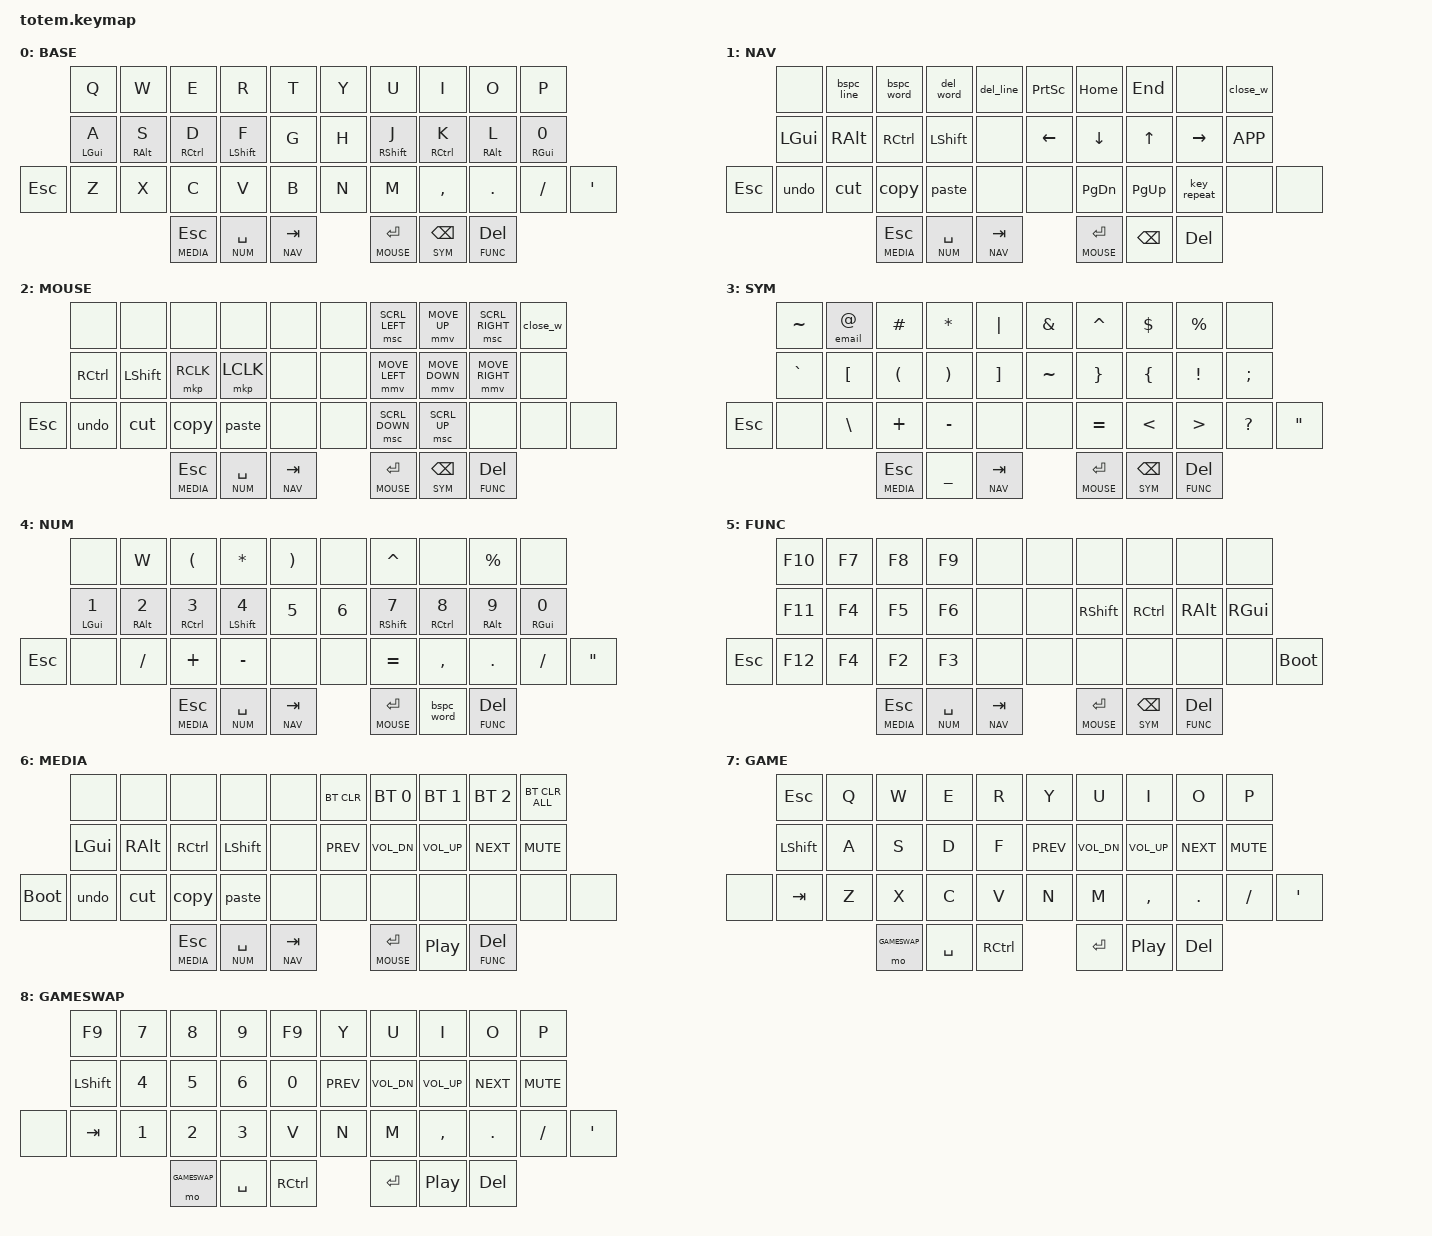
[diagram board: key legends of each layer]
//
//                                                        ▀▀▀▀▀     ▀▀▀▀▀          ▀▀█▀▀
//                                                        ▄▀▀▀▄  ▄  ▄▀▀▀▄  ▄  ▄▀▀▀▄  █  ▄▀▀▀▄
//                                                        █   █  █  █   █  █  █   █  █  █   █
//                                                         ▀▀▀   █   ▀▀▀   █   ▀▀▀   ▀   ▀▀▀
//                                                               █      ▄▄▄█▄▄▄    █   █
//                                                               ▀      █  █  █     █▄█
//                                                             ▀▀▀▀▀    █  █  █      ▀
//                                                                      ▀  ▀  ▀
//
// ▄▄▄▄▄▄▄▄▄▄▄▄▄▄▄▄▄▄▄▄▄▄▄▄▄▄▄▄▄▄▄▄▄▄▄▄▄▄▄▄▄▄▄▄▄▄▄▄▄▄▄▄▄▄▄▄▄▄▄▄▄▄▄▄▄▄▄▄▄▄▄▄▄▄▄▄▄▄▄▄▄▄▄▄▄▄▄▄▄▄▄▄▄▄▄▄▄▄▄▄▄▄▄▄▄▄▄▄▄▄▄▄▄▄▄▄▄▄▄▄▄▄▄▄▄▄▄▄▄▄▄▄▄▄▄▄▄▄▄▄▄▄▄▄▄▄▄▄▄


#include <behaviors.dtsi>
#include <dt-bindings/zmk/keys.h>
#include <dt-bindings/zmk/bt.h>
#include <dt-bindings/zmk/outputs.h>
#include <dt-bindings/zmk/mouse.h>
#include <behaviors/mouse_keys.dtsi>

#define BASE 0
#define NAV 1
#define MOUSE 2
#define SYM 3
#define NUM 4
#define FUNC 5
#define MEDIA 6
#define GAME 7
#define GAMESWAP 8

// Mouse settings
#define ZMK_MOUSE_DEFAULT_MOVE_VAL 2000
&mmv {
    time-to-max-speed-ms = <500>;
    delay-ms = <0>;
    acceleration-exponent = <1>;
};
# define ZMK_MOUSE_DEFAULT_SCRL_VAL 20
&msc {
    time-to-max-speed-ms = <100>;
    delay-ms = <0>;
    acceleration-exponent = <1>;
};

&lt {
    flavor = "hold-preferred";
    tapping-term-ms = <2000>;
    retro-tap;
    quick-tap-ms = <0>;
};

/ {
     combos {
            compatible = "zmk,combos";
            combo_toggle_game {
                timeout-ms = <200>;
                layers = <BASE>;
                key-positions = <20 31>;
                bindings = <&to GAME>;
            };
            combo_toggle_base {
                timeout-ms = <200>;
                layers = <GAME>;
                key-positions = <20 31>;
                bindings = <&to BASE>;
            };
            combo_toggle_caps_word_right {
                timeout-ms = <100>;
                layers = <BASE>;
                key-positions = <16 17 18>;
                bindings = <&caps_word>;
            };
            combo_toggle_caps_word_left {
                timeout-ms = <100>;
                layers = <BASE>;
                key-positions = <11 12 13>;
                bindings = <&caps_word>;
            };
            combo_quote {
                timeout-ms = <100>;
                layers = <BASE NUM SYM>;
                key-positions = <6 16>;
                bindings = <&kp APOS>;
            };
            combo_dquote {
                timeout-ms = <100>;
                layers = <BASE NUM SYM>;
                key-positions = <3 13>;
                bindings = <&kp DQT>;
            };
    };

    macros {
        email: email {
            compatible = "zmk,behavior-macro";
            #binding-cells = <0>;
            wait-ms = <30>;
            tap-ms = <30>;
            bindings
                = <&kp T &kp U &kp O &kp M &kp O>
                , <&kp DOT>
                , <&kp K &kp A &kp R &kp E &kp O &kp J &kp A>
                , <&kp AT>
                , <&kp G &kp M &kp A &kp I &kp L>
                , <&kp DOT>
                , <&kp C &kp O &kp M>
                ;
        };
        undo: undo {
            compatible = "zmk,behavior-macro";
            #binding-cells = <0>;
            bindings
                = <&macro_press &kp RCTRL>
                , <&macro_tap &kp Z>
                , <&macro_release &kp RCTRL>
                ;
        };
        cut: cut {
            compatible = "zmk,behavior-macro";
            #binding-cells = <0>;
            bindings
                = <&macro_press &kp RCTRL>
                , <&macro_tap &kp X>
                , <&macro_release &kp RCTRL>
                ;
        };
        copy: copy {
            compatible = "zmk,behavior-macro";
            #binding-cells = <0>;
            bindings
                = <&macro_press &kp RCTRL>
                , <&macro_tap &kp C>
                , <&macro_release &kp RCTRL>
                ;
        };
        paste: paste {
            compatible = "zmk,behavior-macro";
            #binding-cells = <0>;
            bindings
                = <&macro_press &kp RCTRL>
                , <&macro_tap &kp V>
                , <&macro_release &kp RCTRL>
                ;
        };
        bspc_line: bspc_line {
            compatible = "zmk,behavior-macro";
            #binding-cells = <0>;
            bindings
                = <&macro_press &kp LSHFT>
                , <&macro_tap &kp HOME>
                , <&macro_release &kp LSHFT>
                , <&macro_tap &kp DEL>
                ;
        };
        del_line: del_line {
            compatible = "zmk,behavior-macro";
            #binding-cells = <0>;
            bindings
                = <&macro_press &kp LSHFT>
                , <&macro_tap &kp END>
                , <&macro_release &kp LSHFT>
                , <&macro_tap &kp DEL>
                ;
        };
        bspc_word: bspc_word {
            compatible = "zmk,behavior-macro";
            #binding-cells = <0>;
            bindings
                = <&macro_press &kp RCTRL>
                , <&macro_tap &kp BSPC>
                , <&macro_release &kp RCTRL>
                ;
        };
        del_word: del_word {
            compatible = "zmk,behavior-macro";
            #binding-cells = <0>;
            bindings
                = <&macro_press &kp RCTRL>
                , <&macro_tap &kp DEL>
                , <&macro_release &kp RCTRL>
                ;
        };
        close_w: close_w {
            compatible = "zmk,behavior-macro";
            #binding-cells = <0>;
            bindings
                = <&macro_press &kp RALT>
                , <&macro_tap &kp F4>
                , <&macro_release &kp RALT>
                ;
        };
    };

    behaviors {

        hmr: homerow_mods_right {
            compatible = "zmk,behavior-hold-tap";
            #binding-cells = <2>;
            flavor = "balanced";
            tapping-term-ms = <190>;
            quick-tap-ms = <190>;
            require-prior-idle-ms = <175>;
            hold-trigger-key-positions = <                     \
                    0   1   2   3   4                          \
                    10  11  12  13  14      16  17  18  19     \
                20  21  22  23  24  25                         \
                            32  33  34                         \
            >;
            bindings =
                <&kp>,
                <&kp>;
        };
        hml: homerow_mods_left {
            compatible = "zmk,behavior-hold-tap";
            #binding-cells = <2>;
            flavor = "balanced";
            tapping-term-ms = <190>;
            quick-tap-ms = <0>;
            require-prior-idle-ms = <175>;
            hold-trigger-key-positions = <                     \
                                        5   6   7   8   9      \
                    10  11  12  13      15  16  17  18  19     \
                                        26  27  28  29  30  31 \
                                        35  36  37             \
            >;
            bindings =
                <&kp>,
                <&kp>;
        };
        hmli: homerow_left_index {
            compatible = "zmk,behavior-hold-tap";
            #binding-cells = <2>;
            flavor = "balanced";
            retro-tap;
            tapping-term-ms = <100>;
            quick-tap-ms = <0>;
            hold-trigger-key-positions = <                     \
                                        5   6   7   8   9      \
                    10  11  12  13      15  16  17  18  19     \
                                        26  27  28  29  30  31 \
                                        35  36  37             \
            >;
            bindings =
                <&kp>,
                <&kp>;
        };
        hmri: homerow_right_index {
            compatible = "zmk,behavior-hold-tap";
            #binding-cells = <2>;
            flavor = "balanced";
            retro-tap;
            tapping-term-ms = <100>;
            quick-tap-ms = <150>;
            hold-trigger-key-positions = <                     \
                    0   1   2   3   4                          \
                    10  11  12  13  14      16  17  18  19     \
                20  21  22  23  24  25                         \
                            32  33  34                         \
            >;
            bindings =
                <&kp>,
                <&kp>;
        };
        hmrp: homerow_mods_right_pinky {
            compatible = "zmk,behavior-hold-tap";
            #binding-cells = <2>;
            flavor = "balanced";
            tapping-term-ms = <200>;
            quick-tap-ms = <0>;
            require-prior-idle-ms = <175>;
            hold-trigger-key-positions = <                     \
                    0   1   2   3   4                          \
                    10  11  12  13  14      16  17  18  19     \
                20  21  22  23  24  25                         \
                            32  33  34                         \
            >;
            bindings =
                <&kp>,
                <&kp>;
        };
        hmlp: homerow_mods_left_pinky {
            compatible = "zmk,behavior-hold-tap";
            #binding-cells = <2>;
            flavor = "balanced";
            tapping-term-ms = <200>;
            quick-tap-ms = <0>;
            require-prior-idle-ms = <175>;
            hold-trigger-key-positions = <                     \
                                        5   6   7   8   9      \
                    10  11  12  13      15  16  17  18  19     \
                                        26  27  28  29  30  31 \
                                        35  36  37             \
            >;
            bindings =
                <&kp>,
                <&kp>;
        };
        scolon: shift_colon {
            compatible = "zmk,behavior-mod-morph";
            #binding-cells = <0>;
            bindings = <&kp COLON>, <&kp SEMI>;
            mods = <(MOD_LSFT|MOD_RSFT)>;
        };
        hmr_scolon: homerow_right_scolon {
            compatible = "zmk,behavior-hold-tap";
            #binding-cells = <2>;
            flavor = "balanced";
            tapping-term-ms = <200>;
            quick-tap-ms = <0>;
            require-prior-idle-ms = <175>;
            hold-trigger-key-positions = <                     \
                    0   1   2   3   4                          \
                    10  11  12  13  14      16  17  18  19     \
                20  21  22  23  24  25                         \
                            32  33  34                         \
            >;
            bindings = <&kp>, <&scolon>;
        };
        atemail: at_email {
            compatible = "zmk,behavior-hold-tap";
            #binding-cells = <2>;
            flavor = "tap-preferred";
            tapping-term-ms = <250>;
            bindings = <&email>, <&kp>;
        };
    };

        keymap {
                compatible = "zmk,keymap";
// ▄▄▄▄▄▄▄▄▄▄▄▄▄▄▄▄▄▄▄▄▄▄▄▄▄▄▄▄▄▄▄▄▄▄▄▄▄▄▄▄▄▄▄▄▄▄▄▄▄▄▄▄▄▄▄▄▄▄▄▄▄▄▄▄▄▄▄▄▄▄▄▄▄▄▄▄▄▄▄▄▄▄▄▄▄▄▄▄▄▄▄▄▄▄▄▄▄▄▄▄▄▄▄▄▄▄▄▄▄▄▄▄▄▄▄▄▄▄▄▄▄▄▄▄▄▄▄▄▄▄▄▄▄▄▄▄▄▄▄▄▄▄▄▄▄▄▄▄▄

                base_layer {
// ┏━━━━━━━━━━━━━━━━━━━━━━━━━━━━━━━━━━━━━━━┓
label= "BASE"                              ;
// ┗━━━━━━━━━━━━━━━━━━━━━━━━━━━━━━━━━━━━━━━┛
//             ┏━━━━━━━━━━━┳━━━━━━━━━━━┳━━━━━━━━━━━┳━━━━━━━━━━━┳━━━━━━━━━━━┓   ┏━━━━━━━━━━━┳━━━━━━━━━━━┳━━━━━━━━━━━┳━━━━━━━━━━━┳━━━━━━━━━━━┓
//             ┃     Q     ┃     W     ┃     E     ┃     R     ┃     T     ┃   ┃     Y     ┃     U     ┃     I     ┃     O     ┃     P     ┃
//             ┣━━━━━━━━━━━╋━━━━━━━━━━━╋━━━━━━━━━━━╋━━━━━━━━━━━╋━━━━━━━━━━━┫   ┣━━━━━━━━━━━╋━━━━━━━━━━━╋━━━━━━━━━━━╋━━━━━━━━━━━╋━━━━━━━━━━━┫
//             ┃     A     ┃     S     ┃     D     ┃     F     ┃     G     ┃   ┃     H     ┃     J     ┃     K     ┃     L     ┃     :     ┃
// ┏━━━━━━━━━━━╋━━━━━━━━━━━╋━━━━━━━━━━━╋━━━━━━━━━━━╋━━━━━━━━━━━╋━━━━━━━━━━━┫   ┣━━━━━━━━━━━╋━━━━━━━━━━━╋━━━━━━━━━━━╋━━━━━━━━━━━╋━━━━━━━━━━━╋━━━━━━━━━━━┓
// ┃    ESC    ┃     Z     ┃     X     ┃     C     ┃     V     ┃     B     ┃   ┃     N     ┃     M     ┃     ,     ┃     .     ┃     /     ┃     '     ┃
// ┗━━━━━━━━━━━┻━━━━━━━━━━━┻━━━━━━━━━━━╋━━━━━━━━━━━╋━━━━━━━━━━━╋━━━━━━━━━━━┫   ┣━━━━━━━━━━━╋━━━━━━━━━━━╋━━━━━━━━━━━╋━━━━━━━━━━━┻━━━━━━━━━━━┻━━━━━━━━━━━┛
//                                     ┃    ESC    ┃   SPACE   ┃    TAB    ┃   ┃   ENTER   ┃    BSPC   ┃    DEL    ┃
//                                     ┗━━━━━━━━━━━┻━━━━━━━━━━━┻━━━━━━━━━━━┛   ┗━━━━━━━━━━━┻━━━━━━━━━━━┻━━━━━━━━━━━┛
 bindings = <
// ╷           ╷           ╷           ╷           ╷           ╷           ╷   ╷           ╷           ╷           ╷           ╷           ╷           ╷

                &kp Q       &kp W       &kp E         &kp R         &kp T           &kp Y       &kp U         &kp I       &kp O        &kp P
                &hmlp LGUI A &hml RALT S &hml RCTRL D  &hmli LSHFT F &kp G           &kp H       &hmri RSHFT J &hmr RCTRL K &hmr RALT L &hmr_scolon RGUI N0
    &kp ESC     &kp Z       &kp X       &kp C         &kp V         &kp B           &kp N       &kp M         &kp COMMA   &kp DOT      &kp FSLH    &kp APOS
                                        &lt MEDIA ESC &lt NUM SPACE &lt NAV TAB           &lt MOUSE RET &lt SYM BSPC &lt FUNC DEL
                        >;
                };

// ▄▄▄▄▄▄▄▄▄▄▄▄▄▄▄▄▄▄▄▄▄▄▄▄▄▄▄▄▄▄▄▄▄▄▄▄▄▄▄▄▄▄▄▄▄▄▄▄▄▄▄▄▄▄▄▄▄▄▄▄▄▄▄▄▄▄▄▄▄▄▄▄▄▄▄▄▄▄▄▄▄▄▄▄▄▄▄▄▄▄▄▄▄▄▄▄▄▄▄▄▄▄▄▄▄▄▄▄▄▄▄▄▄▄▄▄▄▄▄▄▄▄▄▄▄▄▄▄▄▄▄▄▄▄▄▄▄▄▄▄▄▄▄▄▄▄▄▄▄

                nav_layer {
// ┏━━━━━━━━━━━━━━━━━━━━━━━━━━━━━━━━━━━━━━━┓
label= "NAV"                               ;
// ┗━━━━━━━━━━━━━━━━━━━━━━━━━━━━━━━━━━━━━━━┛
//             ┏━━━━━━━━━━━┳━━━━━━━━━━━┳━━━━━━━━━━━┳━━━━━━━━━━━┳━━━━━━━━━━━┓   ┏━━━━━━━━━━━┳━━━━━━━━━━━┳━━━━━━━━━━━┳━━━━━━━━━━━┳━━━━━━━━━━━┓
//             ┃    XXX    ┃ BSPC LINE ┃ BSPC WORD ┃ DEL WORD  ┃ DEL LINE  ┃   ┃ PRINT SCR ┃   HOME    ┃    END    ┃    XXX    ┃  CLOSE W  ┃
//             ┣━━━━━━━━━━━╋━━━━━━━━━━━╋━━━━━━━━━━━╋━━━━━━━━━━━╋━━━━━━━━━━━┫   ┣━━━━━━━━━━━╋━━━━━━━━━━━╋━━━━━━━━━━━╋━━━━━━━━━━━╋━━━━━━━━━━━┫
//             ┃    LGUI   ┃   RALT    ┃   RCTRL   ┃   LSHFT   ┃    XXX    ┃   ┃   LEFT    ┃   DOWN    ┃    UP     ┃   RIGHT   ┃    APP    ┃
// ┏━━━━━━━━━━━╋━━━━━━━━━━━╋━━━━━━━━━━━╋━━━━━━━━━━━╋━━━━━━━━━━━╋━━━━━━━━━━━┫   ┣━━━━━━━━━━━╋━━━━━━━━━━━╋━━━━━━━━━━━╋━━━━━━━━━━━╋━━━━━━━━━━━╋━━━━━━━━━━━┓
// ┃    ESC    ┃    UNDO   ┃    CUT    ┃   COPY    ┃   PASTE   ┃    XXX    ┃   ┃    XXX    ┃  PG DOWN  ┃   PG UP   ┃ KEYREPEAT ┃    XXX    ┃    XXX    ┃
// ┗━━━━━━━━━━━┻━━━━━━━━━━━┻━━━━━━━━━━━╋━━━━━━━━━━━╋━━━━━━━━━━━╋━━━━━━━━━━━┫   ┣━━━━━━━━━━━╋━━━━━━━━━━━╋━━━━━━━━━━━╋━━━━━━━━━━━┻━━━━━━━━━━━┻━━━━━━━━━━━┛
//                                     ┃    ESC    ┃   SPACE   ┃    TAB    ┃   ┃   ENTER   ┃   BSPC    ┃    DEL    ┃
//                                     ┗━━━━━━━━━━━┻━━━━━━━━━━━┻━━━━━━━━━━━┛   ┗━━━━━━━━━━━┻━━━━━━━━━━━┻━━━━━━━━━━━┛
 bindings = <
// ╷           ╷           ╷           ╷           ╷           ╷           ╷   ╷           ╷           ╷           ╷           ╷           ╷           ╷

                &none       &bspc_line  &bspc_word  &del_word   &del_line       &kp PSCRN   &kp HOME    &kp END     &none       &close_w
                &kp LGUI    &kp RALT    &kp RCTRL   &kp LSHFT   &none           &kp LEFT    &kp DOWN    &kp UP      &kp RIGHT   &kp K_APP
    &kp ESC     &undo       &cut        &copy       &paste      &none           &none       &kp PG_DN   &kp PG_UP   &key_repeat &none        &none
                                        &lt MEDIA ESC &lt NUM SPACE &lt NAV TAB &lt MOUSE RET &kp BSPC    &kp DEL
                        >;
                };

// ▄▄▄▄▄▄▄▄▄▄▄▄▄▄▄▄▄▄▄▄▄▄▄▄▄▄▄▄▄▄▄▄▄▄▄▄▄▄▄▄▄▄▄▄▄▄▄▄▄▄▄▄▄▄▄▄▄▄▄▄▄▄▄▄▄▄▄▄▄▄▄▄▄▄▄▄▄▄▄▄▄▄▄▄▄▄▄▄▄▄▄▄▄▄▄▄▄▄▄▄▄▄▄▄▄▄▄▄▄▄▄▄▄▄▄▄▄▄▄▄▄▄▄▄▄▄▄▄▄▄▄▄▄▄▄▄▄▄▄▄▄▄▄▄▄▄▄▄▄

                mouse_layer {
// ┏━━━━━━━━━━━━━━━━━━━━━━━━━━━━━━━━━━━━━━━┓
label= "MOUSE"                             ;
// ┗━━━━━━━━━━━━━━━━━━━━━━━━━━━━━━━━━━━━━━━┛
//             ┏━━━━━━━━━━━┳━━━━━━━━━━━┳━━━━━━━━━━━┳━━━━━━━━━━━┳━━━━━━━━━━━┓   ┏━━━━━━━━━━━┳━━━━━━━━━━━┳━━━━━━━━━━━┳━━━━━━━━━━━┳━━━━━━━━━━━┓
//             ┃    XXX    ┃    XXX    ┃    XXX    ┃    XXX    ┃    XXX    ┃   ┃    XXX    ┃ SCRL LEFT ┃   MS UP   ┃ SCRL RIGHT┃  CLOSE W  ┃
//             ┣━━━━━━━━━━━╋━━━━━━━━━━━╋━━━━━━━━━━━╋━━━━━━━━━━━╋━━━━━━━━━━━┫   ┣━━━━━━━━━━━╋━━━━━━━━━━━╋━━━━━━━━━━━╋━━━━━━━━━━━╋━━━━━━━━━━━┫
//             ┃    XXX    ┃    XXX    ┃   RCTRL   ┃   LSHFT   ┃    XXX    ┃   ┃    XXX    ┃  MS LEFT  ┃  MS DOWN  ┃  MS RIGHT ┃    XXX    ┃
// ┏━━━━━━━━━━━╋━━━━━━━━━━━╋━━━━━━━━━━━╋━━━━━━━━━━━╋━━━━━━━━━━━╋━━━━━━━━━━━┫   ┣━━━━━━━━━━━╋━━━━━━━━━━━╋━━━━━━━━━━━╋━━━━━━━━━━━╋━━━━━━━━━━━╋━━━━━━━━━━━┓
// ┃    ESC    ┃    UNDO   ┃    CUT    ┃   COPY    ┃   PASTE   ┃    XXX    ┃   ┃    XXX    ┃ SCRL DOWN ┃  SCRL UP  ┃    XXX    ┃    XXX    ┃    XXX    ┃
// ┗━━━━━━━━━━━┻━━━━━━━━━━━┻━━━━━━━━━━━╋━━━━━━━━━━━╋━━━━━━━━━━━╋━━━━━━━━━━━┫   ┣━━━━━━━━━━━╋━━━━━━━━━━━╋━━━━━━━━━━━╋━━━━━━━━━━━┻━━━━━━━━━━━┻━━━━━━━━━━━┛
//                                     ┃    ESC    ┃   SPACE   ┃    TAB    ┃   ┃   ENTER   ┃   BSPC    ┃    DEL    ┃
//                                     ┗━━━━━━━━━━━┻━━━━━━━━━━━┻━━━━━━━━━━━┛   ┗━━━━━━━━━━━┻━━━━━━━━━━━┻━━━━━━━━━━━┛
 bindings = <
// ╷           ╷           ╷           ╷           ╷           ╷           ╷   ╷           ╷           ╷           ╷           ╷           ╷           ╷

                &none       &none       &none       &none       &none           &none         &msc SCRL_LEFT &mmv MOVE_UP     &msc SCRL_RIGHT &close_w
                &kp RCTRL   &kp LSHFT   &mkp RCLK   &mkp LCLK   &none           &none         &mmv MOVE_LEFT   &mmv MOVE_DOWN   &mmv MOVE_RIGHT   &none
    &kp ESC     &undo       &cut        &copy       &paste      &none           &none         &msc SCRL_DOWN &msc SCRL_UP   &none             &none       &none
                                    &lt MEDIA ESC &lt NUM SPACE &lt NAV TAB     &lt MOUSE RET &lt SYM BSPC     &lt FUNC DEL
                        >;
                };

// ▄▄▄▄▄▄▄▄▄▄▄▄▄▄▄▄▄▄▄▄▄▄▄▄▄▄▄▄▄▄▄▄▄▄▄▄▄▄▄▄▄▄▄▄▄▄▄▄▄▄▄▄▄▄▄▄▄▄▄▄▄▄▄▄▄▄▄▄▄▄▄▄▄▄▄▄▄▄▄▄▄▄▄▄▄▄▄▄▄▄▄▄▄▄▄▄▄▄▄▄▄▄▄▄▄▄▄▄▄▄▄▄▄▄▄▄▄▄▄▄▄▄▄▄▄▄▄▄▄▄▄▄▄▄▄▄▄▄▄▄▄▄▄▄▄▄▄▄▄

                sym_layer {
// ┏━━━━━━━━━━━━━━━━━━━━━━━━━━━━━━━━━━━━━━━┓
label= "SYM"                               ;
// ┗━━━━━━━━━━━━━━━━━━━━━━━━━━━━━━━━━━━━━━━┛
//             ┏━━━━━━━━━━━┳━━━━━━━━━━━┳━━━━━━━━━━━┳━━━━━━━━━━━┳━━━━━━━━━━━┓   ┏━━━━━━━━━━━┳━━━━━━━━━━━┳━━━━━━━━━━━┳━━━━━━━━━━━┳━━━━━━━━━━━┓
//             ┃     ~     ┃     @     ┃     #     ┃     *     ┃     |     ┃   ┃     &     ┃     ^     ┃     $     ┃     %     ┃    XXX    ┃
//             ┣━━━━━━━━━━━╋━━━━━━━━━━━╋━━━━━━━━━━━╋━━━━━━━━━━━╋━━━━━━━━━━━┫   ┣━━━━━━━━━━━╋━━━━━━━━━━━╋━━━━━━━━━━━╋━━━━━━━━━━━╋━━━━━━━━━━━┫
//             ┃     `     ┃     [     ┃     (     ┃     )     ┃     ]     ┃   ┃     ~     ┃     }     ┃     {     ┃     !     ┃     ;     ┃
// ┏━━━━━━━━━━━╋━━━━━━━━━━━╋━━━━━━━━━━━╋━━━━━━━━━━━╋━━━━━━━━━━━╋━━━━━━━━━━━┫   ┣━━━━━━━━━━━╋━━━━━━━━━━━╋━━━━━━━━━━━╋━━━━━━━━━━━╋━━━━━━━━━━━╋━━━━━━━━━━━┓
// ┃    ESC    ┃    XXX    ┃     \     ┃     +     ┃     -     ┃    XXX    ┃   ┃    XXX    ┃     =     ┃     <     ┃     >     ┃     ?     ┃     "     ┃
// ┗━━━━━━━━━━━┻━━━━━━━━━━━┻━━━━━━━━━━━╋━━━━━━━━━━━╋━━━━━━━━━━━╋━━━━━━━━━━━┫   ┣━━━━━━━━━━━╋━━━━━━━━━━━╋━━━━━━━━━━━╋━━━━━━━━━━━┻━━━━━━━━━━━┻━━━━━━━━━━━┛
//                                     ┃    ESC    ┃     _     ┃    TAB    ┃   ┃   ENTER   ┃    BSPC   ┃    DEL    ┃
//                                     ┗━━━━━━━━━━━┻━━━━━━━━━━━┻━━━━━━━━━━━┛   ┗━━━━━━━━━━━┻━━━━━━━━━━━┻━━━━━━━━━━━┛
 bindings = <
// ╷           ╷           ╷           ╷           ╷           ╷           ╷   ╷           ╷           ╷           ╷           ╷           ╷           ╷

                &kp TILDE   &atemail 0 AT &kp HASH    &kp STAR    &kp PIPE        &kp AMPS    &kp CARET   &kp DLLR    &kp PRCNT   &none
                &kp GRAVE   &kp LBKT    &kp LPAR    &kp RPAR    &kp RBKT        &kp TILDE   &kp RBRC    &kp LBRC    &kp EXCL    &kp SEMI
    &kp ESC     &none       &kp BSLH    &kp PLUS    &kp MINUS   &none           &none       &kp EQUAL   &kp LT      &kp GT      &kp QMARK   &kp DQT
                                        &lt MEDIA ESC &kp UNDER &lt NAV TAB     &lt MOUSE RET &lt SYM BSPC  &lt FUNC DEL
                        >;
                };

// ▄▄▄▄▄▄▄▄▄▄▄▄▄▄▄▄▄▄▄▄▄▄▄▄▄▄▄▄▄▄▄▄▄▄▄▄▄▄▄▄▄▄▄▄▄▄▄▄▄▄▄▄▄▄▄▄▄▄▄▄▄▄▄▄▄▄▄▄▄▄▄▄▄▄▄▄▄▄▄▄▄▄▄▄▄▄▄▄▄▄▄▄▄▄▄▄▄▄▄▄▄▄▄▄▄▄▄▄▄▄▄▄▄▄▄▄▄▄▄▄▄▄▄▄▄▄▄▄▄▄▄▄▄▄▄▄▄▄▄▄▄▄▄▄▄▄▄▄▄

                num_layer {
// ┏━━━━━━━━━━━━━━━━━━━━━━━━━━━━━━━━━━━━━━━┓
label= "NUM"                               ;
// ┗━━━━━━━━━━━━━━━━━━━━━━━━━━━━━━━━━━━━━━━┛
//             ┏━━━━━━━━━━━┳━━━━━━━━━━━┳━━━━━━━━━━━┳━━━━━━━━━━━┳━━━━━━━━━━━┓   ┏━━━━━━━━━━━┳━━━━━━━━━━━┳━━━━━━━━━━━┳━━━━━━━━━━━┳━━━━━━━━━━━┓
//             ┃    XXX    ┃     W     ┃     (     ┃     *     ┃     )     ┃   ┃    XXX    ┃     ^     ┃    XXX    ┃     %     ┃    XXX    ┃
//             ┣━━━━━━━━━━━╋━━━━━━━━━━━╋━━━━━━━━━━━╋━━━━━━━━━━━╋━━━━━━━━━━━┫   ┣━━━━━━━━━━━╋━━━━━━━━━━━╋━━━━━━━━━━━╋━━━━━━━━━━━╋━━━━━━━━━━━┫
//             ┃     1     ┃     2     ┃     3     ┃     4     ┃     5     ┃   ┃     6     ┃     7     ┃     8     ┃     9     ┃     0     ┃
// ┏━━━━━━━━━━━╋━━━━━━━━━━━╋━━━━━━━━━━━╋━━━━━━━━━━━╋━━━━━━━━━━━╋━━━━━━━━━━━┫   ┣━━━━━━━━━━━╋━━━━━━━━━━━╋━━━━━━━━━━━╋━━━━━━━━━━━╋━━━━━━━━━━━╋━━━━━━━━━━━┓
// ┃    ESC    ┃    XXX    ┃     /     ┃     +     ┃     -     ┃    XXX    ┃   ┃    XXX    ┃     =     ┃     ,     ┃     .     ┃     /     ┃    XXX    ┃
// ┗━━━━━━━━━━━┻━━━━━━━━━━━┻━━━━━━━━━━━╋━━━━━━━━━━━╋━━━━━━━━━━━╋━━━━━━━━━━━┫   ┣━━━━━━━━━━━╋━━━━━━━━━━━╋━━━━━━━━━━━╋━━━━━━━━━━━┻━━━━━━━━━━━┻━━━━━━━━━━━┛
//                                     ┃    ESC    ┃   SPACE   ┃    TAB    ┃   ┃   ENTER   ┃    BSPC   ┃    DEL    ┃
//                                     ┗━━━━━━━━━━━┻━━━━━━━━━━━┻━━━━━━━━━━━┛   ┗━━━━━━━━━━━┻━━━━━━━━━━━┻━━━━━━━━━━━┛
 bindings = <
// ╷           ╷           ╷           ╷           ╷           ╷           ╷   ╷           ╷           ╷           ╷           ╷           ╷           ╷

                &none        &kp W        &kp LPAR      &kp STAR       &kp RPAR      &none       &kp CARET      &none         &kp PRCNT    &none
                &hmlp LGUI N1 &hml RALT N2 &hml RCTRL N3 &hmli LSHFT N4 &kp N5       &kp N6      &hmri RSHFT N7 &hmr RCTRL N8 &hmr RALT N9 &hmrp RGUI N0
    &kp ESC     &none        &kp FSLH     &kp PLUS      &kp MINUS      &none         &none       &kp EQUAL      &kp COMMA     &kp DOT      &kp FSLH     &kp DQT
                                          &lt MEDIA ESC &lt NUM SPACE  &lt NAV TAB   &lt MOUSE RET &bspc_word  &lt FUNC DEL
                        >;
                };

// ▄▄▄▄▄▄▄▄▄▄▄▄▄▄▄▄▄▄▄▄▄▄▄▄▄▄▄▄▄▄▄▄▄▄▄▄▄▄▄▄▄▄▄▄▄▄▄▄▄▄▄▄▄▄▄▄▄▄▄▄▄▄▄▄▄▄▄▄▄▄▄▄▄▄▄▄▄▄▄▄▄▄▄▄▄▄▄▄▄▄▄▄▄▄▄▄▄▄▄▄▄▄▄▄▄▄▄▄▄▄▄▄▄▄▄▄▄▄▄▄▄▄▄▄▄▄▄▄▄▄▄▄▄▄▄▄▄▄▄▄▄▄▄▄▄▄▄▄▄

                func_layer {
// ┏━━━━━━━━━━━━━━━━━━━━━━━━━━━━━━━━━━━━━━━┓
label= "FUNC"                              ;
// ┗━━━━━━━━━━━━━━━━━━━━━━━━━━━━━━━━━━━━━━━┛
//             ┏━━━━━━━━━━━┳━━━━━━━━━━━┳━━━━━━━━━━━┳━━━━━━━━━━━┳━━━━━━━━━━━┓   ┏━━━━━━━━━━━┳━━━━━━━━━━━┳━━━━━━━━━━━┳━━━━━━━━━━━┳━━━━━━━━━━━┓
//             ┃    F10    ┃    F7     ┃    F8     ┃    F9     ┃    XXX    ┃   ┃    XXX    ┃    XXX    ┃    XXX    ┃    XXX    ┃    XXX    ┃
//             ┣━━━━━━━━━━━╋━━━━━━━━━━━╋━━━━━━━━━━━╋━━━━━━━━━━━╋━━━━━━━━━━━┫   ┣━━━━━━━━━━━╋━━━━━━━━━━━╋━━━━━━━━━━━╋━━━━━━━━━━━╋━━━━━━━━━━━┫
//             ┃    F11    ┃    F4     ┃    F5     ┃    F6     ┃    XXX    ┃   ┃    XXX    ┃   RSHFT   ┃   RCTRL   ┃   RALT    ┃    RGUI   ┃
// ┏━━━━━━━━━━━╋━━━━━━━━━━━╋━━━━━━━━━━━╋━━━━━━━━━━━╋━━━━━━━━━━━╋━━━━━━━━━━━┫   ┣━━━━━━━━━━━╋━━━━━━━━━━━╋━━━━━━━━━━━╋━━━━━━━━━━━╋━━━━━━━━━━━╋━━━━━━━━━━━┓
// ┃    ESC    ┃    F12    ┃    F1     ┃    F2     ┃    F3     ┃    XXX    ┃   ┃    XXX    ┃    XXX    ┃    XXX    ┃    XXX    ┃    XXX    ┃ bootloader┃
// ┗━━━━━━━━━━━┻━━━━━━━━━━━┻━━━━━━━━━━━╋━━━━━━━━━━━╋━━━━━━━━━━━╋━━━━━━━━━━━┫   ┣━━━━━━━━━━━╋━━━━━━━━━━━╋━━━━━━━━━━━╋━━━━━━━━━━━┻━━━━━━━━━━━┻━━━━━━━━━━━┛
//                                     ┃    ESC    ┃   SPACE   ┃    TAB    ┃   ┃   ENTER   ┃   BSPC    ┃    DEL    ┃
//                                     ┗━━━━━━━━━━━┻━━━━━━━━━━━┻━━━━━━━━━━━┛   ┗━━━━━━━━━━━┻━━━━━━━━━━━┻━━━━━━━━━━━┛
 bindings = <
// ╷           ╷           ╷           ╷           ╷           ╷           ╷   ╷           ╷           ╷           ╷           ╷           ╷           ╷

                &kp F10     &kp F7      &kp F8      &kp F9      &none           &none      &none        &none       &none       &none
                &kp F11     &kp F4      &kp F5      &kp F6      &none           &none      &kp RSHFT    &kp RCTRL   &kp RALT    &kp RGUI
    &kp ESC     &kp F12     &kp F4      &kp F2      &kp F3      &none           &none      &none        &none       &none       &none       &bootloader
                                        &lt MEDIA ESC &lt NUM SPACE &lt NAV TAB &lt MOUSE RET &lt SYM BSPC &lt FUNC DEL
                        >;
                };

// ▄▄▄▄▄▄▄▄▄▄▄▄▄▄▄▄▄▄▄▄▄▄▄▄▄▄▄▄▄▄▄▄▄▄▄▄▄▄▄▄▄▄▄▄▄▄▄▄▄▄▄▄▄▄▄▄▄▄▄▄▄▄▄▄▄▄▄▄▄▄▄▄▄▄▄▄▄▄▄▄▄▄▄▄▄▄▄▄▄▄▄▄▄▄▄▄▄▄▄▄▄▄▄▄▄▄▄▄▄▄▄▄▄▄▄▄▄▄▄▄▄▄▄▄▄▄▄▄▄▄▄▄▄▄▄▄▄▄▄▄▄▄▄▄▄▄▄▄▄

                media_layer {
// ┏━━━━━━━━━━━━━━━━━━━━━━━━━━━━━━━━━━━━━━━┓
label= "MEDIA"                             ;
// ┗━━━━━━━━━━━━━━━━━━━━━━━━━━━━━━━━━━━━━━━┛
//             ┏━━━━━━━━━━━┳━━━━━━━━━━━┳━━━━━━━━━━━┳━━━━━━━━━━━┳━━━━━━━━━━━┓   ┏━━━━━━━━━━━┳━━━━━━━━━━━┳━━━━━━━━━━━┳━━━━━━━━━━━┳━━━━━━━━━━━┓
//             ┃    XXX    ┃    XXX    ┃    XXX    ┃    XXX    ┃    XXX    ┃   ┃   Clear   ┃    BT0    ┃    BT1    ┃    BT2    ┃ Clear All ┃
//             ┣━━━━━━━━━━━╋━━━━━━━━━━━╋━━━━━━━━━━━╋━━━━━━━━━━━╋━━━━━━━━━━━┫   ┣━━━━━━━━━━━╋━━━━━━━━━━━╋━━━━━━━━━━━╋━━━━━━━━━━━╋━━━━━━━━━━━┫
//             ┃    LGUI   ┃    RALT   ┃   RCTRL   ┃   LSHFT   ┃    XXX    ┃   ┃ PREVIOUS  ┃  VOL DOWN ┃   VOL UP  ┃   NEXT    ┃    MUTE   ┃
// ┏━━━━━━━━━━━╋━━━━━━━━━━━╋━━━━━━━━━━━╋━━━━━━━━━━━╋━━━━━━━━━━━╋━━━━━━━━━━━┫   ┣━━━━━━━━━━━╋━━━━━━━━━━━╋━━━━━━━━━━━╋━━━━━━━━━━━╋━━━━━━━━━━━╋━━━━━━━━━━━┓
// ┃ bootloader┃    UNDO   ┃    CUT    ┃    COPY   ┃   PASTE   ┃    XXX    ┃   ┃    XXX    ┃    XXX    ┃    XXX    ┃    XXX    ┃    XXX    ┃    XXX    ┃
// ┗━━━━━━━━━━━┻━━━━━━━━━━━┻━━━━━━━━━━━╋━━━━━━━━━━━╋━━━━━━━━━━━╋━━━━━━━━━━━┫   ┣━━━━━━━━━━━╋━━━━━━━━━━━╋━━━━━━━━━━━╋━━━━━━━━━━━┻━━━━━━━━━━━┻━━━━━━━━━━━┛
//                                     ┃    ESC    ┃   SPACE   ┃    TAB    ┃   ┃    XXX    ┃   PLAY    ┃    XXX    ┃
//                                     ┗━━━━━━━━━━━┻━━━━━━━━━━━┻━━━━━━━━━━━┛   ┗━━━━━━━━━━━┻━━━━━━━━━━━┻━━━━━━━━━━━┛
 bindings = <
// ╷           ╷           ╷           ╷           ╷           ╷           ╷   ╷           ╷           ╷           ╷           ╷           ╷           ╷

                &none       &none       &none       &none       &none           &bt BT_CLR  &bt BT_SEL 0 &bt BT_SEL 1 &bt BT_SEL 2 &bt BT_CLR_ALL
                &kp LGUI    &kp RALT    &kp RCTRL   &kp LSHFT   &none           &kp C_PREV  &kp C_VOL_DN &kp C_VOL_UP &kp C_NEXT   &kp C_MUTE
    &bootloader &undo       &cut        &copy       &paste      &none           &none       &none        &none        &none        &none      &none
                                        &lt MEDIA ESC &lt NUM SPACE &lt NAV TAB &lt MOUSE RET &kp C_PP   &lt FUNC DEL
                        >;
                };

// ▄▄▄▄▄▄▄▄▄▄▄▄▄▄▄▄▄▄▄▄▄▄▄▄▄▄▄▄▄▄▄▄▄▄▄▄▄▄▄▄▄▄▄▄▄▄▄▄▄▄▄▄▄▄▄▄▄▄▄▄▄▄▄▄▄▄▄▄▄▄▄▄▄▄▄▄▄▄▄▄▄▄▄▄▄▄▄▄▄▄▄▄▄▄▄▄▄▄▄▄▄▄▄▄▄▄▄▄▄▄▄▄▄▄▄▄▄▄▄▄▄▄▄▄▄▄▄▄▄▄▄▄▄▄▄▄▄▄▄▄▄▄▄▄▄▄▄▄▄

                game_layer {
// ┏━━━━━━━━━━━━━━━━━━━━━━━━━━━━━━━━━━━━━━━┓
label= "GAME"                              ;
// ┗━━━━━━━━━━━━━━━━━━━━━━━━━━━━━━━━━━━━━━━┛
//             ┏━━━━━━━━━━━┳━━━━━━━━━━━┳━━━━━━━━━━━┳━━━━━━━━━━━┳━━━━━━━━━━━┓   ┏━━━━━━━━━━━┳━━━━━━━━━━━┳━━━━━━━━━━━┳━━━━━━━━━━━┳━━━━━━━━━━━┓
//             ┃    ESC    ┃     Q     ┃     W     ┃     E     ┃     R     ┃   ┃     Y     ┃     U     ┃     I     ┃     O     ┃     P     ┃
//             ┣━━━━━━━━━━━╋━━━━━━━━━━━╋━━━━━━━━━━━╋━━━━━━━━━━━╋━━━━━━━━━━━┫   ┣━━━━━━━━━━━╋━━━━━━━━━━━╋━━━━━━━━━━━╋━━━━━━━━━━━╋━━━━━━━━━━━┫
//             ┃    LSHFT  ┃     A     ┃     S     ┃     D     ┃     F     ┃   ┃ PREVIOUS  ┃  VOL DOWN ┃   VOL UP  ┃   NEXT    ┃    MUTE   ┃
// ┏━━━━━━━━━━━╋━━━━━━━━━━━╋━━━━━━━━━━━╋━━━━━━━━━━━╋━━━━━━━━━━━╋━━━━━━━━━━━┫   ┣━━━━━━━━━━━╋━━━━━━━━━━━╋━━━━━━━━━━━╋━━━━━━━━━━━╋━━━━━━━━━━━╋━━━━━━━━━━━┓
// ┃    XXX    ┃    TAB    ┃     X     ┃     X     ┃     C     ┃     V     ┃   ┃     N     ┃     M     ┃     ,     ┃     .     ┃     /     ┃    XXX    ┃
// ┗━━━━━━━━━━━┻━━━━━━━━━━━┻━━━━━━━━━━━╋━━━━━━━━━━━╋━━━━━━━━━━━╋━━━━━━━━━━━┫   ┣━━━━━━━━━━━╋━━━━━━━━━━━╋━━━━━━━━━━━╋━━━━━━━━━━━┻━━━━━━━━━━━┻━━━━━━━━━━━┛
//                                     ┃  GAMESWAP ┃   SPACE   ┃   RCTRL   ┃   ┃   ENTER   ┃    PLAY   ┃    DEL    ┃
//                                     ┗━━━━━━━━━━━┻━━━━━━━━━━━┻━━━━━━━━━━━┛   ┗━━━━━━━━━━━┻━━━━━━━━━━━┻━━━━━━━━━━━┛
 bindings = <
// ╷           ╷           ╷           ╷           ╷           ╷           ╷   ╷           ╷           ╷           ╷           ╷           ╷           ╷

                &kp ESC     &kp Q       &kp W        &kp E       &kp R           &kp Y      &kp U        &kp I        &kp O       &kp P
                &kp LSHFT   &kp A       &kp S        &kp D       &kp F           &kp C_PREV &kp C_VOL_DN &kp C_VOL_UP &kp C_NEXT  &kp C_MUTE
    &none       &kp TAB     &kp Z       &kp X        &kp C       &kp V           &kp N      &kp M        &kp COMMA    &kp DOT     &kp FSLH   &kp APOS
                                        &mo GAMESWAP &kp SPACE   &kp RCTRL       &kp RET    &kp C_PP     &kp DEL
                        >;
                };

// ▄▄▄▄▄▄▄▄▄▄▄▄▄▄▄▄▄▄▄▄▄▄▄▄▄▄▄▄▄▄▄▄▄▄▄▄▄▄▄▄▄▄▄▄▄▄▄▄▄▄▄▄▄▄▄▄▄▄▄▄▄▄▄▄▄▄▄▄▄▄▄▄▄▄▄▄▄▄▄▄▄▄▄▄▄▄▄▄▄▄▄▄▄▄▄▄▄▄▄▄▄▄▄▄▄▄▄▄▄▄▄▄▄▄▄▄▄▄▄▄▄▄▄▄▄▄▄▄▄▄▄▄▄▄▄▄▄▄▄▄▄▄▄▄▄▄▄▄▄

                gameswap_layer {
// ┏━━━━━━━━━━━━━━━━━━━━━━━━━━━━━━━━━━━━━━━┓
label= "GAMESWAP"                          ;
// ┗━━━━━━━━━━━━━━━━━━━━━━━━━━━━━━━━━━━━━━━┛
//             ┏━━━━━━━━━━━┳━━━━━━━━━━━┳━━━━━━━━━━━┳━━━━━━━━━━━┳━━━━━━━━━━━┓   ┏━━━━━━━━━━━┳━━━━━━━━━━━┳━━━━━━━━━━━┳━━━━━━━━━━━┳━━━━━━━━━━━┓
//             ┃    F9     ┃     7     ┃     8     ┃     9     ┃    F5     ┃   ┃     Y     ┃     U     ┃     I     ┃     I     ┃     O     ┃
//             ┣━━━━━━━━━━━╋━━━━━━━━━━━╋━━━━━━━━━━━╋━━━━━━━━━━━╋━━━━━━━━━━━┫   ┣━━━━━━━━━━━╋━━━━━━━━━━━╋━━━━━━━━━━━╋━━━━━━━━━━━╋━━━━━━━━━━━┫
//             ┃   LSHFT   ┃     4     ┃     5     ┃     6     ┃     0     ┃   ┃  PREVIOUS ┃  VOL DOWN ┃   VOL UP  ┃    NEXT   ┃    MUTE   ┃
// ┏━━━━━━━━━━━╋━━━━━━━━━━━╋━━━━━━━━━━━╋━━━━━━━━━━━╋━━━━━━━━━━━╋━━━━━━━━━━━┫   ┣━━━━━━━━━━━╋━━━━━━━━━━━╋━━━━━━━━━━━╋━━━━━━━━━━━╋━━━━━━━━━━━╋━━━━━━━━━━━┓
// ┃    XXX    ┃    TAB    ┃     1     ┃     2     ┃     3     ┃     V     ┃   ┃     N     ┃     M     ┃     ,     ┃     .     ┃     /     ┃    XXX    ┃
// ┗━━━━━━━━━━━┻━━━━━━━━━━━┻━━━━━━━━━━━╋━━━━━━━━━━━╋━━━━━━━━━━━╋━━━━━━━━━━━┫   ┣━━━━━━━━━━━╋━━━━━━━━━━━╋━━━━━━━━━━━╋━━━━━━━━━━━┻━━━━━━━━━━━┻━━━━━━━━━━━┛
//                                     ┃  GAMESWAP ┃   SPACE   ┃   RCTRL   ┃   ┃   ENTER   ┃   PLAY    ┃    DEL    ┃
//                                     ┗━━━━━━━━━━━┻━━━━━━━━━━━┻━━━━━━━━━━━┛   ┗━━━━━━━━━━━┻━━━━━━━━━━━┻━━━━━━━━━━━┛
 bindings = <
// ╷           ╷           ╷           ╷           ╷           ╷           ╷   ╷           ╷           ╷           ╷           ╷           ╷           ╷

                &kp F9      &kp N7      &kp N8       &kp N9     &kp F9          &kp Y       &kp U        &kp I        &kp O      &kp P
                &kp LSHFT   &kp N4      &kp N5       &kp N6     &kp N0          &kp C_PREV  &kp C_VOL_DN &kp C_VOL_UP &kp C_NEXT &kp C_MUTE
    &none       &kp TAB     &kp N1      &kp N2       &kp N3     &kp V           &kp N       &kp M        &kp COMMA    &kp DOT    &kp FSLH   &kp APOS
                                        &mo GAMESWAP &kp SPACE  &kp RCTRL       &kp RET     &kp C_PP     &kp DEL
                        >;
                };

// ▄▄▄▄▄▄▄▄▄▄▄▄▄▄▄▄▄▄▄▄▄▄▄▄▄▄▄▄▄▄▄▄▄▄▄▄▄▄▄▄▄▄▄▄▄▄▄▄▄▄▄▄▄▄▄▄▄▄▄▄▄▄▄▄▄▄▄▄▄▄▄▄▄▄▄▄▄▄▄▄▄▄▄▄▄▄▄▄▄▄▄▄▄▄▄▄▄▄▄▄▄▄▄▄▄▄▄▄▄▄▄▄▄▄▄▄▄▄▄▄▄▄▄▄▄▄▄▄▄▄▄▄▄▄▄▄▄▄▄▄▄▄▄▄▄▄▄▄▄

        };
};
